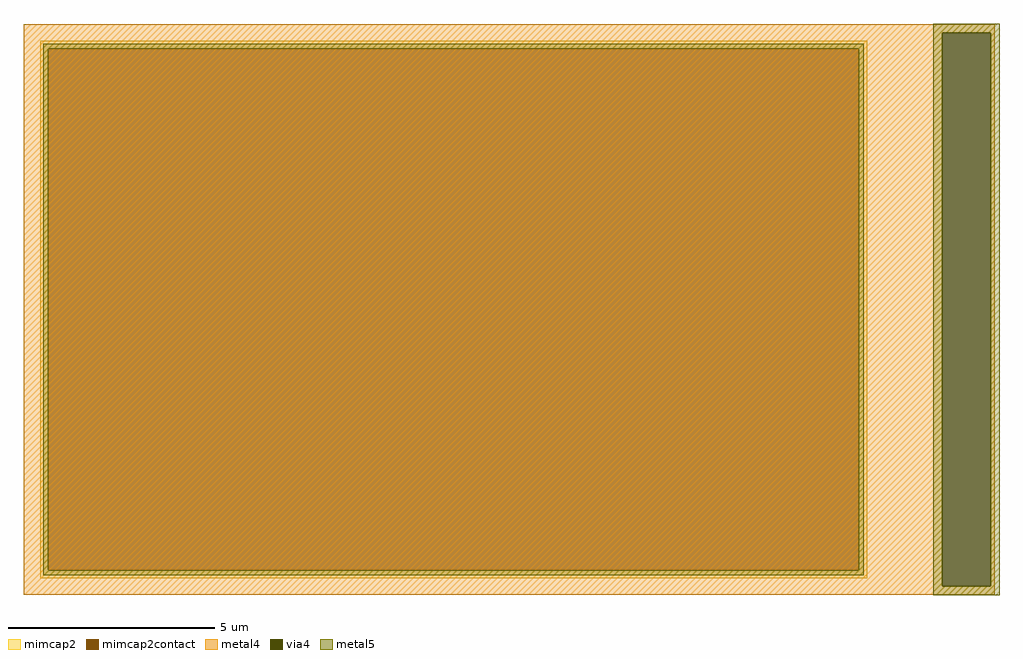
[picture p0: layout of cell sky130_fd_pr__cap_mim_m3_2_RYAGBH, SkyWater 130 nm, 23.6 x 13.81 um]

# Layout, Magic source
magic
tech sky130A
magscale 1 2
<< metal4 >>
rect -2349 1339 2349 1380
rect -2349 -1339 2093 1339
rect 2329 -1339 2349 1339
rect -2349 -1380 2349 -1339
<< via4 >>
rect 2093 -1339 2329 1339
<< mimcap2 >>
rect -2269 1260 1731 1300
rect -2269 -1260 -2229 1260
rect 1691 -1260 1731 1260
rect -2269 -1300 1731 -1260
<< mimcap2contact >>
rect -2229 -1260 1691 1260
<< metal5 >>
rect 2051 1339 2371 1381
rect -2253 1260 1715 1284
rect -2253 -1260 -2229 1260
rect 1691 -1260 1715 1260
rect -2253 -1284 1715 -1260
rect 2051 -1339 2093 1339
rect 2329 -1339 2371 1339
rect 2051 -1381 2371 -1339
<< properties >>
string FIXED_BBOX -2349 -1380 1811 1380
string gencell sky130_fd_pr__cap_mim_m3_2
string library sky130
string parameters w 20.0 l 13.0 val 532.54 carea 2.00 cperi 0.19 nx 1 ny 1 dummy 0 square 0 lmin 2.00 wmin 2.00 lmax 30.0 wmax 30.0 dc 0 bconnect 1 tconnect 1 ccov 100
<< end >>
